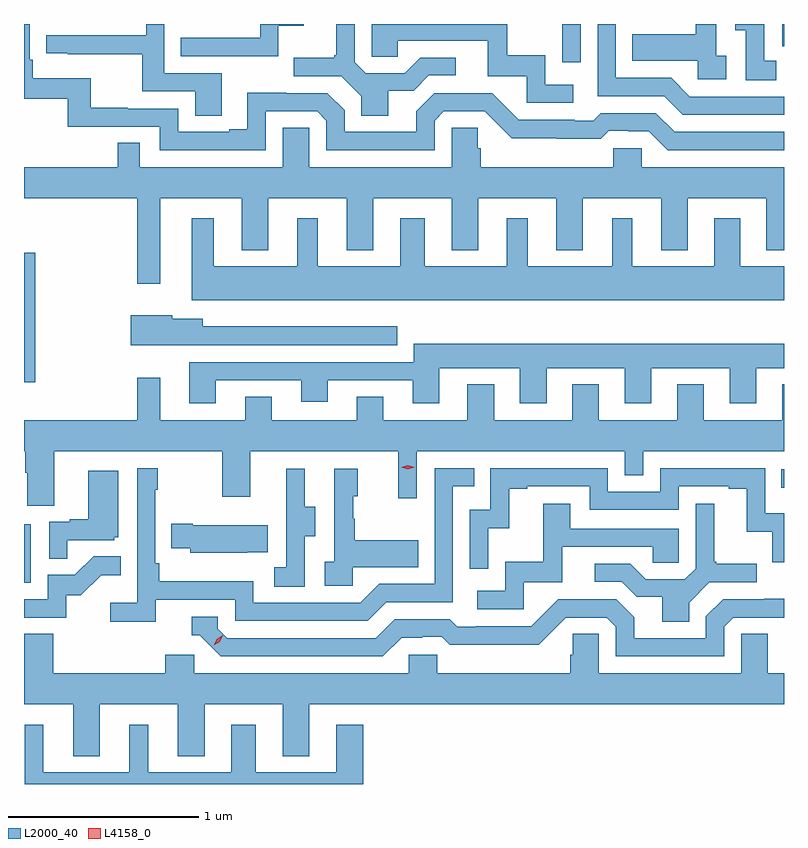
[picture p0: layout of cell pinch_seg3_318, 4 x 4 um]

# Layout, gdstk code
import gdstk
lib = gdstk.Library(unit=1e-6, precision=1e-09)
def R(c, l, rs):  # rectangles x0, y0, x1, y1
    for r in rs: c.add(gdstk.rectangle(r[:2], r[2:], *l))
def P(c, l, *ps):  # polygons
    for p in ps: c.add(gdstk.Polygon(p, *l))
L2000_40 = (2000, 40)
L4158_0 = (4158, 0)

pinch_seg3_318 = lib.new_cell('pinch_seg3_318')
R(pinch_seg3_318, L2000_40, [(998.393,714.876,998.428,715.183), (1002.379,715.376,1002.393,715.473), (998.393,715.932,998.453,716.612), (1001.226,717.615,1001.322,717.817), (1002.385,717.701,1002.393,717.817)])
P(pinch_seg3_318, L2000_40, [(1002.088,717.65),(1002.036,717.65),(1002.036,717.817),(1001.928,717.817),(1001.928,717.763),(1001.593,717.763),(1001.593,717.623),(1001.94,717.623),(1001.94,717.525),(1002.088,717.525)],
  [(1000.309,717.466),(1000.444,717.466),(1000.524,717.546),(1000.666,717.546),(1000.666,717.639),(1000.478,717.639),(1000.397,717.558),(1000.191,717.558),(1000.134,717.615),(1000.134,717.817),(1000.037,717.817),(1000.037,717.652),(1000.026,717.652),(1000.026,717.64),(999.813,717.64),(999.813,717.543),(1000.062,717.543),(1000.169,717.436),(1000.169,717.334),(1000.309,717.334)],
  [(999.433,717.558),(999.132,717.558),(999.132,717.817),(999.036,717.817),(999.036,717.759),(998.511,717.759),(998.511,717.663),(998.623,717.663),(998.623,717.658),(999.016,717.658),(999.016,717.462),(999.293,717.462),(999.293,717.334),(999.433,717.334)],
  [(999.666,717.357),(999.936,717.357),(999.984,717.309),(999.984,717.153),(1000.554,717.153),(1000.554,717.309),(1000.602,717.357),(1000.818,717.357),(1000.96,717.215),(1001.196,717.215),(1001.196,717.213),(1001.429,717.213),(1001.471,717.255),(1001.574,717.255),(1001.574,717.252),(1001.681,717.252),(1001.78,717.153),(1002.393,717.153),(1002.393,717.249),(1001.817,717.249),(1001.718,717.348),(1001.429,717.348),(1001.39,717.309),(1001.291,717.309),(1001.291,717.312),(1000.998,717.312),(1000.857,717.453),(1000.551,717.453),(1000.457,717.359),(1000.457,717.249),(1000.08,717.249),(1000.08,717.363),(999.99,717.453),(999.774,717.453),(999.774,717.455),(999.569,717.455),(999.569,717.262),(999.473,717.262),(999.473,717.249),(999.204,717.249),(999.204,717.372),(998.939,717.372),(998.939,717.377),(998.743,717.377),(998.743,717.532),(998.438,717.532),(998.438,717.628),(998.424,717.628),(998.424,717.817),(998.393,717.817),(998.393,717.423),(998.622,717.423),(998.622,717.276),(999.108,717.276),(999.108,717.153),(999.666,717.153)],
  [(1001.284,717.498),(1001.136,717.498),(1001.136,717.652),(1000.937,717.652),(1000.937,717.817),(1000.224,717.817),(1000.224,717.645),(1000.361,717.645),(1000.361,717.729),(1000.835,717.729),(1000.835,717.543),(1001.04,717.543),(1001.04,717.402),(1001.284,717.402)],
  [(1002.352,717.623),(1002.288,717.623),(1002.288,717.817),(1002.137,717.817),(1002.137,717.784),(1002.192,717.784),(1002.192,717.52),(1002.352,717.52)],
  [(1002.393,717.435),(1001.898,717.435),(1001.799,717.534),(1001.508,717.534),(1001.508,717.817),(1001.412,717.817),(1001.412,717.438),(1001.762,717.438),(1001.861,717.339),(1002.393,717.339)],
  [(999.732,717.809),(999.865,717.809),(999.865,717.817),(999.636,717.817),(999.636,717.744),(999.217,717.744),(999.217,717.648),(999.732,717.648)],
  [(999.109,716.9),(999.539,716.9),(999.539,716.627),(999.679,716.627),(999.679,716.9),(1000.091,716.9),(1000.091,716.627),(1000.231,716.627),(1000.231,716.9),(1000.643,716.9),(1000.643,716.627),(1000.783,716.627),(1000.783,716.9),(1001.195,716.9),(1001.195,716.627),(1001.335,716.627),(1001.335,716.9),(1001.747,716.9),(1001.747,716.627),(1001.887,716.627),(1001.887,716.9),(1002.299,716.9),(1002.299,716.627),(1002.393,716.627),(1002.393,717.064),(1001.643,717.064),(1001.643,717.162),(1001.493,717.162),(1001.493,717.064),(1000.796,717.064),(1000.796,717.162),(1000.781,717.162),(1000.781,717.272),(1000.644,717.272),(1000.644,717.064),(999.894,717.064),(999.894,717.272),(999.755,717.272),(999.755,717.064),(999.003,717.064),(999.003,717.191),(998.887,717.191),(998.887,717.064),(998.393,717.064),(998.393,716.9),(998.988,716.9),(998.988,716.451),(999.109,716.451)],
  [(1002.393,716.542),(1002.163,716.542),(1002.163,716.794),(1002.026,716.794),(1002.026,716.542),(1001.593,716.542),(1001.593,716.794),(1001.489,716.794),(1001.489,716.542),(1001.044,716.542),(1001.044,716.794),(1000.934,716.794),(1000.934,716.542),(1000.501,716.542),(1000.501,716.794),(1000.373,716.794),(1000.373,716.542),(999.94,716.542),(999.94,716.794),(999.83,716.794),(999.83,716.542),(999.391,716.542),(999.391,716.794),(999.275,716.794),(999.275,716.363),(1002.393,716.363)],
  [(1000.357,716.227),(999.334,716.227),(999.334,716.266),(999.174,716.266),(999.174,716.284),(998.954,716.284),(998.954,716.126),(1000.357,716.126)],
  [(999.403,715.941),(999.851,715.941),(999.851,715.829),(999.991,715.829),(999.991,715.941),(1000.439,715.941),(1000.439,715.821),(1000.579,715.821),(1000.579,716.006),(1001.003,716.006),(1001.003,715.821),(1001.143,715.821),(1001.143,716.006),(1001.555,716.006),(1001.555,715.821),(1001.695,715.821),(1001.695,716.006),(1002.107,716.006),(1002.107,715.821),(1002.247,715.821),(1002.247,716.006),(1002.393,716.006),(1002.393,716.134),(1000.445,716.134),(1000.445,716.037),(999.263,716.037),(999.263,715.821),(999.403,715.821)],
  [(998.551,715.568),(999.436,715.568),(999.436,715.329),(999.583,715.329),(999.583,715.568),(1000.364,715.568),(1000.364,715.32),(1000.461,715.32),(1000.461,715.568),(1001.556,715.568),(1001.556,715.441),(1001.652,715.441),(1001.652,715.568),(1002.393,715.568),(1002.393,715.921),(1002.383,715.921),(1002.383,715.732),(1001.971,715.732),(1001.971,715.921),(1001.831,715.921),(1001.831,715.732),(1001.419,715.732),(1001.419,715.921),(1001.279,715.921),(1001.279,715.732),(1000.867,715.732),(1000.867,715.921),(1000.727,715.921),(1000.727,715.732),(1000.285,715.732),(1000.285,715.856),(1000.145,715.856),(1000.145,715.732),(999.697,715.732),(999.697,715.856),(999.557,715.856),(999.557,715.732),(999.109,715.732),(999.109,715.954),(998.988,715.954),(998.988,715.732),(998.393,715.732),(998.393,715.568),(998.399,715.568),(998.399,715.456),(998.411,715.456),(998.411,715.282),(998.551,715.282)],
  [(999.086,714.786),(999.504,714.786),(999.504,714.675),(1000.201,714.675),(1000.3,714.774),(1000.65,714.774),(1000.65,715.383),(1000.763,715.383),(1000.763,715.479),(1000.554,715.479),(1000.554,714.87),(1000.263,714.87),(1000.164,714.771),(999.6,714.771),(999.6,714.883),(999.104,714.883),(999.104,714.979),(999.084,714.979),(999.084,715.367),(999.097,715.367),(999.097,715.48),(998.988,715.48),(998.988,714.772),(998.847,714.772),(998.847,714.67),(999.086,714.67)],
  [(1000.836,715.163),(1000.946,715.163),(1000.946,715.371),(1001.041,715.371),(1001.041,715.383),(1001.37,715.383),(1001.37,715.26),(1001.838,715.26),(1001.838,715.383),(1002.101,715.383),(1002.101,715.371),(1002.197,715.371),(1002.197,715.145),(1002.33,715.145),(1002.33,714.984),(1002.393,714.984),(1002.393,715.243),(1002.294,715.243),(1002.294,715.479),(1001.742,715.479),(1001.742,715.356),(1001.466,715.356),(1001.466,715.479),(1000.848,715.479),(1000.848,715.26),(1000.74,715.26),(1000.74,714.951),(1000.836,714.951)],
  [(999.87,715.12),(999.925,715.12),(999.925,715.275),(999.871,715.275),(999.871,715.477),(999.773,715.477),(999.773,715.263),(999.774,715.263),(999.774,714.959),(999.711,714.959),(999.711,714.856),(999.87,714.856)],
  [(1000.122,714.959),(1000.469,714.959),(1000.469,715.099),(1000.135,715.099),(1000.135,715.214),(1000.125,715.214),(1000.125,715.332),(1000.15,715.332),(1000.15,715.477),(1000.026,715.477),(1000.026,714.986),(999.975,714.986),(999.975,714.861),(1000.122,714.861)],
  [(998.621,715.101),(998.868,715.101),(998.868,715.116),(998.89,715.116),(998.89,715.465),(998.732,715.465),(998.732,715.21),(998.633,715.21),(998.633,715.197),(998.526,715.197),(998.526,715.003),(998.621,715.003)],
  [(1001.893,714.772),(1002,714.879),(1002.25,714.879),(1002.25,714.976),(1002.037,714.976),(1002.037,714.988),(1002.025,714.988),(1002.025,715.291),(1001.928,715.291),(1001.928,714.951),(1001.871,714.894),(1001.665,714.894),(1001.584,714.975),(1001.397,714.975),(1001.397,714.882),(1001.538,714.882),(1001.618,714.802),(1001.753,714.802),(1001.753,714.67),(1001.893,714.67)],
  [(1001.022,714.879),(1001.227,714.879),(1001.227,715.065),(1001.701,715.065),(1001.701,714.981),(1001.838,714.981),(1001.838,715.161),(1001.269,715.161),(1001.269,715.291),(1001.125,715.291),(1001.125,714.988),(1000.926,714.988),(1000.926,714.834),(1000.779,714.834),(1000.779,714.738),(1001.022,714.738)],
  [(999.569,715.037),(999.677,715.037),(999.677,715.18),(999.28,715.18),(999.28,715.188),(999.169,715.188),(999.169,715.058),(999.267,715.058),(999.267,715.034),(999.569,715.034)],
  [(998.616,714.81),(998.692,714.81),(998.799,714.917),(998.903,714.917),(998.903,715.016),(998.759,715.016),(998.661,714.918),(998.517,714.918),(998.517,714.789),(998.393,714.789),(998.393,714.693),(998.616,714.693)],
  [(1000.381,714.588),(1000.488,714.588),(1000.488,714.591),(1000.591,714.591),(1000.633,714.549),(1000.866,714.549),(1000.866,714.551),(1001.102,714.551),(1001.244,714.693),(1001.46,714.693),(1001.508,714.645),(1001.508,714.489),(1002.078,714.489),(1002.078,714.645),(1002.126,714.693),(1002.393,714.693),(1002.393,714.791),(1002.288,714.791),(1002.288,714.789),(1002.072,714.789),(1001.982,714.699),(1001.982,714.585),(1001.605,714.585),(1001.605,714.695),(1001.511,714.789),(1001.205,714.789),(1001.064,714.648),(1000.771,714.648),(1000.771,714.645),(1000.672,714.645),(1000.633,714.684),(1000.344,714.684),(1000.245,714.585),(999.462,714.585),(999.414,714.633),(999.414,714.696),(999.275,714.696),(999.275,714.6),(999.318,714.6),(999.429,714.489),(1000.282,714.489)],
  [(998.791,714.236),(999.203,714.236),(999.203,713.963),(999.343,713.963),(999.343,714.236),(999.755,714.236),(999.755,713.963),(999.895,713.963),(999.895,714.236),(1002.393,714.236),(1002.393,714.4),(1002.307,714.4),(1002.307,714.608),(1002.168,714.608),(1002.168,714.4),(1001.418,714.4),(1001.418,714.608),(1001.281,714.608),(1001.281,714.498),(1001.267,714.498),(1001.267,714.4),(1000.569,714.4),(1000.569,714.498),(1000.419,714.498),(1000.419,714.4),(999.288,714.4),(999.288,714.498),(999.137,714.498),(999.137,714.4),(998.546,714.4),(998.546,714.608),(998.393,714.608),(998.393,714.236),(998.651,714.236),(998.651,713.963),(998.791,713.963)],
  [(1000.178,714.13),(1000.037,714.13),(1000.037,713.878),(999.613,713.878),(999.613,714.13),(999.485,714.13),(999.485,713.878),(999.046,713.878),(999.046,714.13),(998.948,714.13),(998.948,713.878),(998.494,713.878),(998.494,714.13),(998.396,714.13),(998.396,713.817),(1000.178,713.817)])
P(pinch_seg3_318, L4158_0, [(999.391,714.547),(999.391,714.547),(999.407,714.58),(999.438,714.599),(999.438,714.599),(999.438,714.598),(999.422,714.566),(999.391,714.547)],
  [(1000.414,715.474),(1000.378,715.484),(1000.378,715.484),(1000.378,715.484),(1000.414,715.494),(1000.449,715.484),(1000.45,715.484),(1000.449,715.484)])

lib.write_gds('pinch_seg3_318.gds')
